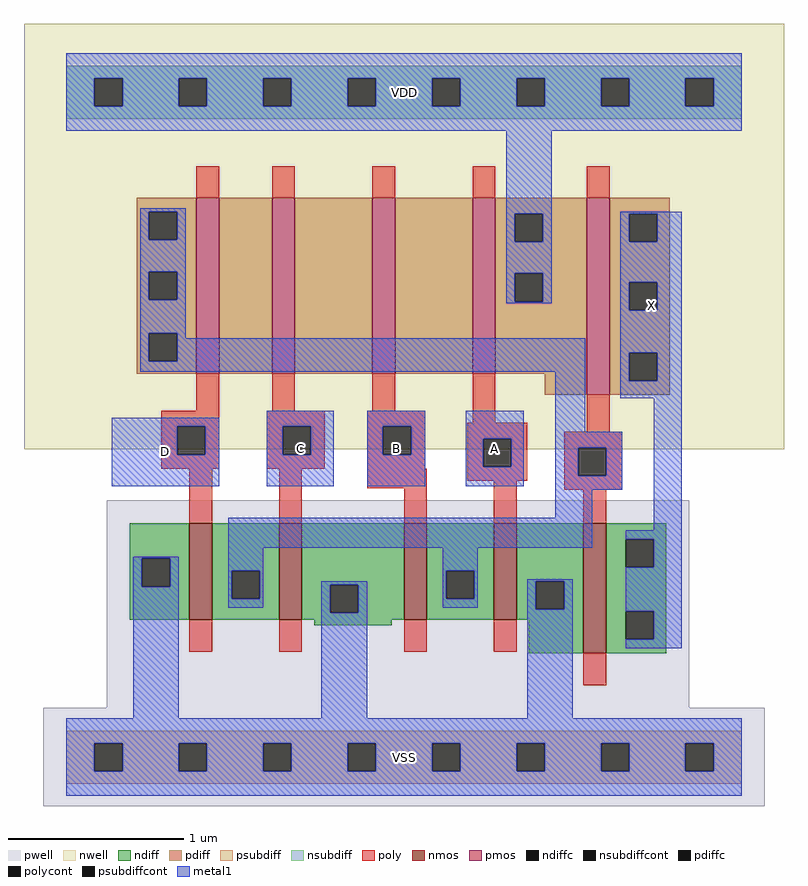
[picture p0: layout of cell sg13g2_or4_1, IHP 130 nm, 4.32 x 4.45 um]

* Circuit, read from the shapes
.subckt sg13g2_or4_1 X C D VDD VSS A B
XM1 n1 D VSS VSS sg13_lv_nmos w=0.55u l=0.13u
XM2 VSS C n1 VSS sg13_lv_nmos w=0.55u l=0.13u
XM3 n1 B VSS VSS sg13_lv_nmos w=0.55u l=0.13u
XM4 VSS A n1 VSS sg13_lv_nmos w=0.55u l=0.13u
XM5 X n1 VSS VSS sg13_lv_nmos w=0.74u l=0.13u
XM6 n2 D n1 VDD sg13_lv_pmos w=1u l=0.13u
XM7 n3 C n2 VDD sg13_lv_pmos w=1u l=0.13u
XM8 n4 B n3 VDD sg13_lv_pmos w=1u l=0.13u
XM9 VDD A n4 VDD sg13_lv_pmos w=1u l=0.13u
XM10 X n1 VDD VDD sg13_lv_pmos w=1.12u l=0.13u
.ends

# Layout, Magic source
magic
tech ihp-sg13g2
<< nwell >>
rect -24 175 408 417
<< pwell >>
rect 23 28 354 146
rect -13 -28 397 28
<< nmos >>
rect 70 78 83 133
rect 121 78 134 133
rect 192 78 205 133
rect 243 78 256 133
rect 294 59 307 133
<< pmos >>
rect 74 218 87 318
rect 117 218 130 318
rect 174 218 187 318
rect 231 218 244 318
rect 296 206 309 318
<< ndiff >>
rect 36 113 70 133
rect 36 97 43 113
rect 59 97 70 113
rect 36 78 70 97
rect 83 106 121 133
rect 83 90 94 106
rect 110 90 121 106
rect 83 78 121 90
rect 134 98 192 133
rect 134 82 150 98
rect 166 82 192 98
rect 134 78 192 82
rect 205 106 243 133
rect 205 90 216 106
rect 232 90 243 106
rect 205 78 243 90
rect 256 100 294 133
rect 256 84 267 100
rect 283 84 294 100
rect 256 78 294 84
rect 141 75 185 78
rect 263 59 294 78
rect 307 124 341 133
rect 307 108 318 124
rect 334 108 341 124
rect 307 83 341 108
rect 307 67 318 83
rect 334 67 341 83
rect 307 59 341 67
<< pdiff >>
rect 40 310 74 318
rect 40 294 47 310
rect 63 294 74 310
rect 40 276 74 294
rect 40 260 47 276
rect 63 260 74 276
rect 40 241 74 260
rect 40 225 47 241
rect 63 225 74 241
rect 40 218 74 225
rect 87 218 117 318
rect 130 218 174 318
rect 187 218 231 318
rect 244 309 296 318
rect 244 293 255 309
rect 271 293 296 309
rect 244 275 296 293
rect 244 259 255 275
rect 271 259 296 275
rect 244 218 296 259
rect 272 206 296 218
rect 309 309 343 318
rect 309 293 320 309
rect 336 293 343 309
rect 309 270 343 293
rect 309 254 320 270
rect 336 254 343 270
rect 309 230 343 254
rect 309 214 320 230
rect 336 214 343 230
rect 309 206 343 214
<< ndiffc >>
rect 43 97 59 113
rect 94 90 110 106
rect 150 82 166 98
rect 216 90 232 106
rect 267 84 283 100
rect 318 108 334 124
rect 318 67 334 83
<< pdiffc >>
rect 47 294 63 310
rect 47 260 63 276
rect 47 225 63 241
rect 255 293 271 309
rect 255 259 271 275
rect 320 293 336 309
rect 320 254 336 270
rect 320 214 336 230
<< psubdiff >>
rect 0 8 384 15
rect 0 -8 16 8
rect 32 -8 64 8
rect 80 -8 112 8
rect 128 -8 160 8
rect 176 -8 208 8
rect 224 -8 256 8
rect 272 -8 304 8
rect 320 -8 352 8
rect 368 -8 384 8
rect 0 -15 384 -8
<< nsubdiff >>
rect 0 386 384 393
rect 0 370 16 386
rect 32 370 64 386
rect 80 370 112 386
rect 128 370 160 386
rect 176 370 208 386
rect 224 370 256 386
rect 272 370 304 386
rect 320 370 352 386
rect 368 370 384 386
rect 0 363 384 370
<< psubdiffcont >>
rect 16 -8 32 8
rect 64 -8 80 8
rect 112 -8 128 8
rect 160 -8 176 8
rect 208 -8 224 8
rect 256 -8 272 8
rect 304 -8 320 8
rect 352 -8 368 8
<< nsubdiffcont >>
rect 16 370 32 386
rect 64 370 80 386
rect 112 370 128 386
rect 160 370 176 386
rect 208 370 224 386
rect 256 370 272 386
rect 304 370 320 386
rect 352 370 368 386
<< poly >>
rect 74 318 87 336
rect 117 318 130 336
rect 174 318 187 336
rect 231 318 244 336
rect 296 318 309 336
rect 74 197 87 218
rect 117 197 130 218
rect 174 197 187 218
rect 54 188 87 197
rect 54 172 63 188
rect 79 172 87 188
rect 54 164 87 172
rect 114 188 147 197
rect 114 172 123 188
rect 139 172 147 188
rect 114 164 147 172
rect 171 188 204 197
rect 231 190 244 218
rect 171 172 180 188
rect 196 172 204 188
rect 171 164 204 172
rect 228 181 262 190
rect 296 185 309 206
rect 228 165 237 181
rect 253 165 262 181
rect 70 133 83 164
rect 121 133 134 164
rect 171 153 205 164
rect 228 157 262 165
rect 283 176 316 185
rect 283 160 291 176
rect 307 160 316 176
rect 192 133 205 153
rect 243 133 256 157
rect 283 152 316 160
rect 294 133 307 152
rect 70 60 83 78
rect 121 60 134 78
rect 192 60 205 78
rect 243 60 256 78
rect 294 41 307 59
<< polycont >>
rect 63 172 79 188
rect 123 172 139 188
rect 180 172 196 188
rect 237 165 253 181
rect 291 160 307 176
<< metal1 >>
rect 0 386 384 400
rect 0 370 16 386
rect 32 370 64 386
rect 80 370 112 386
rect 128 370 160 386
rect 176 370 208 386
rect 224 370 256 386
rect 272 370 304 386
rect 320 370 352 386
rect 368 370 384 386
rect 0 356 384 370
rect 42 310 68 312
rect 42 294 47 310
rect 63 294 68 310
rect 42 276 68 294
rect 42 260 47 276
rect 63 260 68 276
rect 42 241 68 260
rect 250 309 276 356
rect 250 293 255 309
rect 271 293 276 309
rect 250 275 276 293
rect 250 259 255 275
rect 271 259 276 275
rect 250 258 276 259
rect 315 309 350 310
rect 315 293 320 309
rect 336 293 350 309
rect 315 270 350 293
rect 42 225 47 241
rect 63 238 68 241
rect 315 254 320 270
rect 336 254 350 270
rect 63 225 295 238
rect 42 219 295 225
rect 26 188 87 193
rect 26 172 63 188
rect 79 172 87 188
rect 26 154 87 172
rect 114 188 152 197
rect 114 172 123 188
rect 139 172 152 188
rect 114 154 152 172
rect 171 188 204 197
rect 171 172 180 188
rect 196 172 204 188
rect 171 154 204 172
rect 227 181 260 197
rect 227 165 237 181
rect 253 165 260 181
rect 227 154 260 165
rect 278 185 295 219
rect 315 230 350 254
rect 315 214 320 230
rect 336 214 350 230
rect 315 204 350 214
rect 278 176 316 185
rect 278 160 291 176
rect 307 160 316 176
rect 278 152 316 160
rect 278 136 299 152
rect 92 119 299 136
rect 334 129 350 204
rect 318 124 350 129
rect 38 113 64 114
rect 38 97 43 113
rect 59 97 64 113
rect 38 22 64 97
rect 92 106 112 119
rect 92 90 94 106
rect 110 90 112 106
rect 214 106 234 119
rect 92 85 112 90
rect 145 98 171 100
rect 145 82 150 98
rect 166 82 171 98
rect 214 90 216 106
rect 232 90 234 106
rect 334 108 350 124
rect 214 85 234 90
rect 262 100 288 101
rect 145 22 171 82
rect 262 84 267 100
rect 283 84 288 100
rect 262 22 288 84
rect 318 83 350 108
rect 334 67 350 83
rect 318 62 350 67
rect 0 8 384 22
rect 0 -8 16 8
rect 32 -8 64 8
rect 80 -8 112 8
rect 128 -8 160 8
rect 176 -8 208 8
rect 224 -8 256 8
rect 272 -8 304 8
rect 320 -8 352 8
rect 368 -8 384 8
rect 0 -22 384 -8
<< labels >>
flabel metal1 s 315 204 350 310 0 FreeSans 200 0 0 0 X
port 2 nsew
flabel metal1 s 114 154 152 197 0 FreeSans 200 0 0 0 C
port 3 nsew
flabel metal1 s 26 154 87 193 0 FreeSans 200 0 0 0 D
port 4 nsew
flabel metal1 s 0 356 384 400 0 FreeSans 200 0 0 0 VDD
port 5 nsew
flabel metal1 s 0 -22 384 22 0 FreeSans 200 0 0 0 VSS
port 6 nsew
flabel metal1 s 227 154 260 197 0 FreeSans 200 0 0 0 A
port 7 nsew
flabel metal1 s 171 154 204 197 0 FreeSans 200 0 0 0 B
port 8 nsew
<< properties >>
string FIXED_BBOX 0 0 384 378
string GDS_END 251330
string GDS_FILE ../gds/controller.gds
string GDS_START 245008
<< end >>
